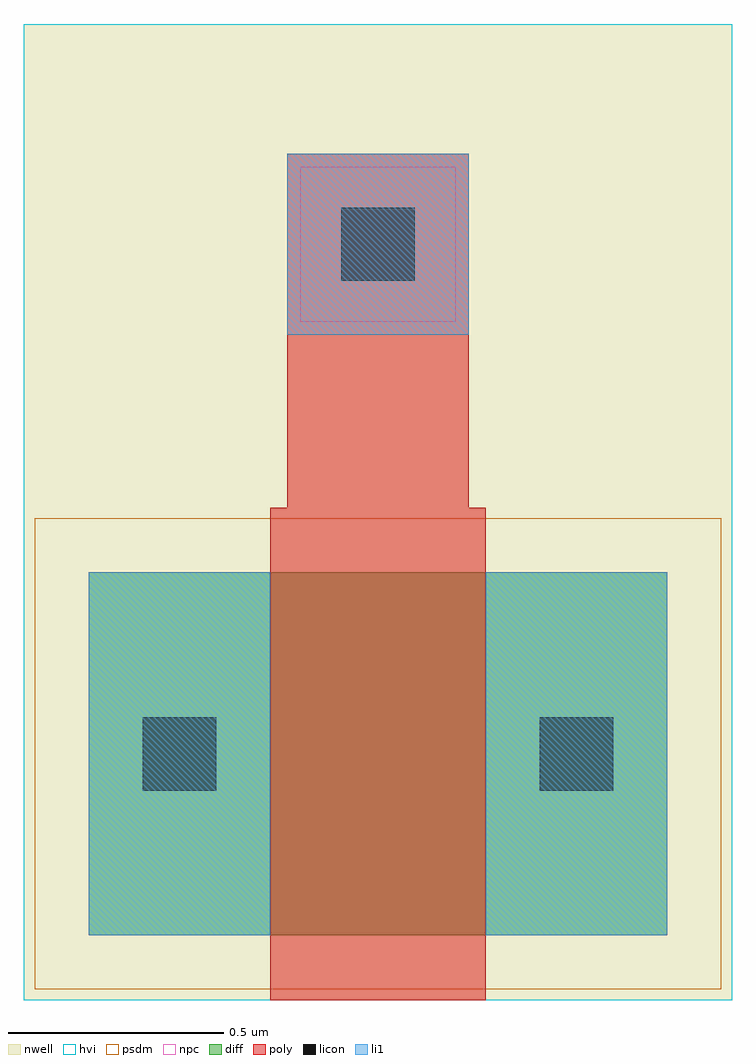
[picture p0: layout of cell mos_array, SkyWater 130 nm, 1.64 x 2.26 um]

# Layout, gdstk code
import gdstk
lib = gdstk.Library(unit=1e-6, precision=1e-09)
def R(c, l, rs):  # rectangles x0, y0, x1, y1
    for r in rs: c.add(gdstk.rectangle(r[:2], r[2:], *l))
nwell = (64, 20)
diff = (65, 20)
poly = (66, 20)
licon = (66, 44)
li1 = (67, 20)
hvi = (75, 20)
psdm = (94, 20)
npc = (95, 20)

mos_array = lib.new_cell('mos_array')
R(mos_array, nwell, [(-0.15,-0.15,1.49,2.11)])
R(mos_array, diff, [(0,0,1.34,0.84)])
R(mos_array, poly, [(0.42,-0.15,0.92,0.84), (0.42,0.84,0.92,0.99), (0.42,0.84,0.92,0.99), (0.46,0.99,0.88,1.81)])
R(mos_array, licon, [(0.125,0.335,0.295,0.505), (1.045,0.335,1.215,0.505), (0.585,1.515,0.755,1.685)])
R(mos_array, li1, [(0,0,0.42,0.84), (0.92,0,1.34,0.84), (0.46,1.39,0.88,1.81)])
R(mos_array, hvi, [(-0.15,-0.15,1.49,2.11)])
R(mos_array, psdm, [(-0.125,-0.125,1.465,0.965)])
R(mos_array, npc, [(0.49,1.42,0.85,1.78)])

lib.write_gds('mos_array.gds')
